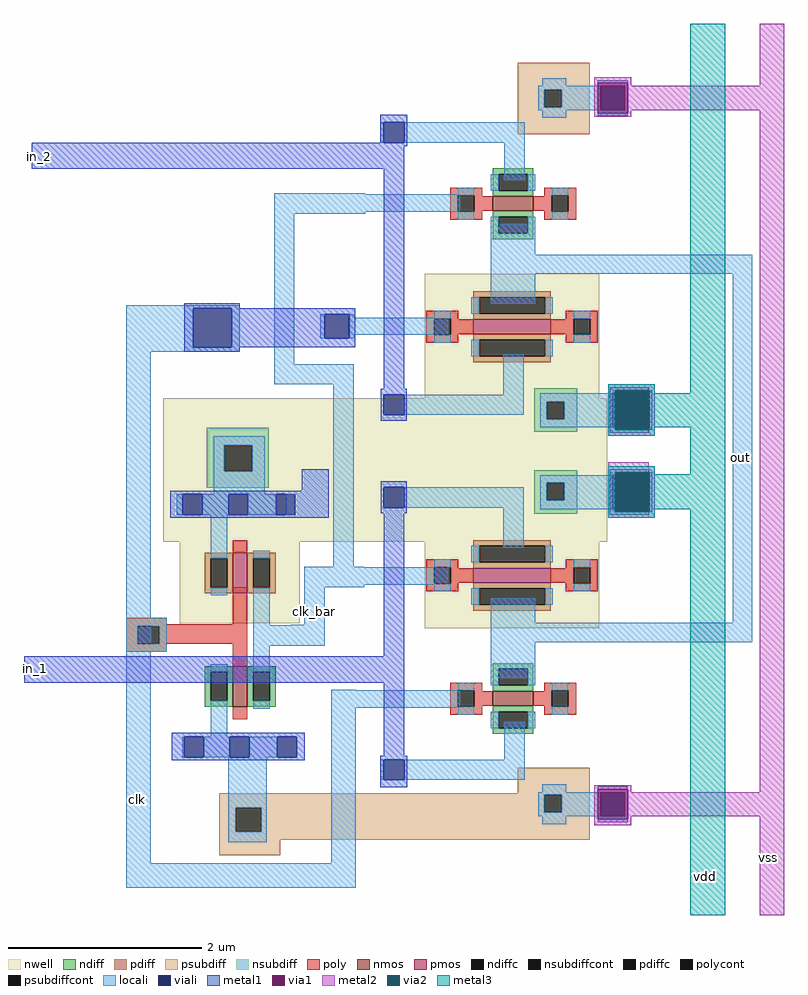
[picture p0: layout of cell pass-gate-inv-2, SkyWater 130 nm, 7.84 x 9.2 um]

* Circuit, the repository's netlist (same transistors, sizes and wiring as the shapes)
* NGSPICE file created from pass-gate-inv-2.ext - technology: sky130A

.subckt sky130_fd_pr__nfet_01v8_8mr83b VSUBS a_n73_n42# a_n15_n68# a_15_n42#
X0 a_15_n42# a_n15_n68# a_n73_n42# VSUBS sky130_fd_pr__nfet_01v8 w=420000u l=150000u
.ends

.subckt sky130_fd_pr__pfet_01v8_ykwexw VSUBS a_n73_n42# w_n109_n104# a_n15_n68# a_15_n42#
X0 a_15_n42# a_n15_n68# a_n73_n42# w_n109_n104# sky130_fd_pr__pfet_01v8 w=420000u l=150000u
.ends

.subckt inverter in out vdd vss
Xsky130_fd_pr__nfet_01v8_8mr83b_0 vss vss in out sky130_fd_pr__nfet_01v8_8mr83b
Xsky130_fd_pr__pfet_01v8_ykwexw_0 vss vdd vdd in out sky130_fd_pr__pfet_01v8_ykwexw
.ends

.subckt sky130_fd_pr__nfet_01v8_5mkfxl VSUBS a_n73_n42# a_15_n42# a_n33_n130#
X0 a_15_n42# a_n33_n130# a_n73_n42# VSUBS sky130_fd_pr__nfet_01v8 w=420000u l=150000u
.ends

.subckt sky130_fd_pr__pfet_01v8_pa2hmj VSUBS a_n33_n177# a_15_n80# w_n109_n180# a_n73_n80#
X0 a_15_n80# a_n33_n177# a_n73_n80# w_n109_n180# sky130_fd_pr__pfet_01v8 w=800000u l=150000u
.ends

.subckt pass-gate clk clk_bar v_in v_out v_newll v_sub v_out
Xsky130_fd_pr__nfet_01v8_5mkfxl_0 v_sub v_out v_in clk sky130_fd_pr__nfet_01v8_5mkfxl
Xsky130_fd_pr__pfet_01v8_pa2hmj_0 v_sub clk_bar v_out v_newll v_in sky130_fd_pr__pfet_01v8_pa2hmj
.ends

.subckt pass-gate-inv-2 in_1 in_2 clk clk_bar out vdd vss
Xinverter_0 clk clk_bar vdd vss inverter
Xpass-gate_0 clk clk_bar in_1 out vdd vss out pass-gate
Xpass-gate_1 clk_bar clk in_2 out vdd vss out pass-gate
.ends

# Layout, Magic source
magic
tech sky130A
magscale 1 2
<< nwell >>
rect -382 614 534 910
<< psubdiff >>
rect -150 0 362 96
<< locali >>
rect -153 1291 35 1333
rect -458 1096 -224 1102
rect -458 1016 -320 1096
rect -240 1016 -224 1096
rect -458 1006 -224 1016
rect -458 -49 -408 1006
rect -153 981 -111 1291
rect 322 1167 833 1207
rect -58 1034 -48 1084
rect 2 1034 12 1084
rect -153 939 11 981
rect -31 563 11 939
rect -91 521 33 563
rect -91 443 -49 521
rect -119 442 -49 443
rect -146 400 -49 442
rect 294 447 386 498
rect 793 447 833 1167
rect 294 407 833 447
rect 294 338 386 407
rect -35 -49 15 309
rect -458 -99 15 -49
<< viali >>
rect -320 1016 -240 1096
rect -48 1034 2 1084
<< metal1 >>
rect -653 1384 96 1438
rect -338 1096 -224 1106
rect -338 1016 -320 1096
rect -240 1084 14 1096
rect -240 1034 -48 1084
rect 2 1034 14 1084
rect -240 1016 14 1034
rect -338 1006 -224 1016
rect -96 720 -40 764
rect -129 664 -40 720
rect -669 324 100 378
<< metal2 >>
rect 849 1555 899 1683
rect 613 1505 899 1555
rect 536 908 603 929
rect 536 834 620 908
rect 536 688 620 778
rect 536 685 603 688
rect 849 98 899 1505
rect 579 48 899 98
rect 849 -156 899 48
<< metal3 >>
rect 706 921 778 1683
rect 621 851 778 921
rect 706 754 778 851
rect 624 682 778 754
rect 706 -156 778 682
use inverter  inverter_0
transform 1 0 -332 0 1 446
box -126 -478 242 448
use pass-gate  pass-gate_1
transform 1 0 210 0 -1 1385
box -210 -218 503 586
use pass-gate  pass-gate_0
transform 1 0 210 0 1 218
box -210 -218 503 586
<< labels >>
flabel metal1 -652 344 -640 362 0 FreeSans 800 0 0 0 in_1
port 0 nsew
flabel metal1 -644 1400 -632 1418 0 FreeSans 800 0 0 0 in_2
port 1 nsew
flabel locali -440 74 -428 92 0 FreeSans 800 0 0 0 clk
port 2 nsew
flabel locali -76 462 -64 480 0 FreeSans 800 0 0 0 clk_bar
port 3 nsew
flabel locali 804 780 816 798 0 FreeSans 800 0 0 0 out
port 4 nsew
flabel metal3 732 -86 744 -68 0 FreeSans 800 0 0 0 vdd
port 5 nsew
flabel metal2 862 -46 874 -28 0 FreeSans 800 0 0 0 vss
port 6 nsew
<< end >>

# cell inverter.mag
magic
tech sky130A
magscale 1 2
<< nwell >>
rect -16 0 232 448
<< psubdiff >>
rect 66 -380 192 -350
rect 66 -430 100 -380
rect 152 -430 192 -380
rect 66 -478 192 -430
<< nsubdiff >>
rect 40 368 168 404
rect 40 314 76 368
rect 134 314 168 368
rect 40 280 168 314
<< psubdiffcont >>
rect 100 -430 152 -380
<< nsubdiffcont >>
rect 76 314 134 368
<< poly >>
rect -126 -2 -42 12
rect 94 -2 124 75
rect -126 -6 124 -2
rect -126 -42 -102 -6
rect -58 -42 124 -6
rect -126 -58 -42 -42
rect 94 -66 124 -42
<< polycont >>
rect -102 -42 -58 -6
<< locali >>
rect 54 368 160 386
rect 54 314 76 368
rect 134 314 160 368
rect 54 266 160 314
rect -22 224 -9 266
rect 31 224 85 266
rect 125 224 183 266
rect 48 134 82 224
rect -126 -6 -42 12
rect -126 -42 -102 -6
rect -58 -42 -42 -6
rect -126 -58 -42 -42
rect 136 -4 170 64
rect 136 -46 228 -4
rect 136 -92 170 -46
rect 48 -234 82 -172
rect -10 -276 -6 -234
rect 34 -276 88 -234
rect 128 -276 186 -234
rect 84 -380 164 -276
rect 84 -430 100 -380
rect 152 -430 164 -380
rect 84 -452 164 -430
<< viali >>
rect -9 224 31 266
rect 85 224 125 266
rect 183 224 223 266
rect -6 -276 34 -234
rect 88 -276 128 -234
rect 186 -276 226 -234
<< metal1 >>
rect -35 266 239 274
rect -35 224 -9 266
rect 31 224 85 266
rect 125 224 183 266
rect 223 224 239 266
rect -35 218 239 224
rect -32 -234 242 -226
rect -32 -276 -6 -234
rect 34 -276 88 -234
rect 128 -276 186 -234
rect 226 -276 242 -234
rect -32 -282 242 -276
use sky130_fd_pr__pfet_01v8_ykwexw  sky130_fd_pr__pfet_01v8_ykwexw_0
transform 1 0 109 0 1 104
box -109 -104 109 104
use sky130_fd_pr__nfet_01v8_8mr83b  sky130_fd_pr__nfet_01v8_8mr83b_0
transform 1 0 109 0 1 -130
box -73 -68 73 68
<< labels >>
flabel locali -120 -4 -114 2 0 FreeSans 800 0 0 0 in
port 0 nsew
flabel locali 204 -24 210 -18 0 FreeSans 800 0 0 0 out
port 1 nsew
flabel metal1 -32 264 -26 270 0 FreeSans 800 0 0 0 vdd
port 2 nsew
flabel metal1 -28 -240 -22 -234 0 FreeSans 800 0 0 0 vss
port 3 nsew
<< end >>

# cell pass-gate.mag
magic
tech sky130A
magscale 1 2
<< nwell >>
rect -52 396 308 586
<< psubdiff >>
rect 140 -126 288 -70
rect 140 -162 194 -126
rect 230 -162 288 -126
rect 140 -218 288 -162
<< nsubdiff >>
rect 174 518 262 544
rect 174 482 200 518
rect 236 482 262 518
rect 174 454 262 482
<< psubdiffcont >>
rect 194 -162 230 -126
<< nsubdiffcont >>
rect 200 482 236 518
<< locali >>
rect 186 518 335 534
rect -95 467 152 509
rect 110 384 152 467
rect 186 482 200 518
rect 236 482 335 518
rect 186 464 335 482
rect -210 308 -4 344
rect 84 116 176 280
rect -210 54 20 90
rect 112 -53 154 24
rect -144 -95 -137 -53
rect -95 -95 154 -53
rect 190 -120 240 -104
rect 182 -126 311 -120
rect 182 -162 194 -126
rect 230 -162 311 -126
rect 182 -170 311 -162
rect 190 -186 240 -170
<< viali >>
rect -137 467 -95 509
rect 335 464 405 534
rect -137 -95 -95 -53
rect 311 -170 361 -120
<< metal1 >>
rect 329 540 411 546
rect 329 534 341 540
rect -143 509 -89 521
rect -143 467 -137 509
rect -95 467 -89 509
rect -143 455 -89 467
rect 329 464 335 534
rect 329 458 341 464
rect 411 458 417 540
rect -137 -45 -95 455
rect 329 452 411 458
rect -144 -53 -88 -45
rect -144 -95 -137 -53
rect -95 -95 -88 -53
rect -144 -110 -88 -95
rect 305 -114 367 -108
rect 305 -182 367 -176
<< via1 >>
rect 341 534 411 540
rect 341 464 405 534
rect 405 464 411 534
rect 341 458 411 464
rect 305 -120 367 -114
rect 305 -170 311 -120
rect 311 -170 361 -120
rect 361 -170 367 -120
rect 305 -176 367 -170
<< metal2 >>
rect 326 540 422 552
rect 326 458 341 540
rect 411 458 422 540
rect 326 446 422 458
rect 298 -114 374 -106
rect 298 -176 305 -114
rect 367 -120 374 -114
rect 367 -170 503 -120
rect 367 -176 374 -170
rect 298 -188 374 -176
<< via2 >>
rect 341 458 411 540
<< metal3 >>
rect 326 540 422 552
rect 326 458 341 540
rect 411 534 422 540
rect 411 464 503 534
rect 411 458 422 464
rect 326 446 422 458
use sky130_fd_pr__nfet_01v8_5mkfxl  sky130_fd_pr__nfet_01v8_5mkfxl_0
transform 0 1 130 -1 0 73
box -73 -130 73 130
use sky130_fd_pr__pfet_01v8_pa2hmj  sky130_fd_pr__pfet_01v8_pa2hmj_0
transform 0 1 128 -1 0 327
box -109 -180 109 180
<< labels >>
flabel locali -201 61 -189 79 0 FreeSans 640 0 0 0 clk
port 0 nsew
flabel locali -202 316 -190 334 0 FreeSans 640 0 0 0 clk_bar
port 1 nsew
flabel metal1 -123 153 -111 171 0 FreeSans 640 0 0 0 v_in
port 2 nsew
flabel locali 118 179 130 197 0 FreeSans 640 0 0 0 v_out
port 3 nsew
flabel metal3 457 488 469 506 0 FreeSans 640 0 0 0 v_newll
port 4 nsew
flabel metal2 451 -155 463 -137 0 FreeSans 640 0 0 0 v_sub
port 5 nsew
<< end >>

# cell sky130_fd_pr__nfet_01v8_5mkfxl: kit device sky130_fd_pr__nfet_01v8, w 0.420 l 0.150 m 1 nf 1 diffcov 100 polycov 100 guard 0 glc 0 grc 0 gtc 0 gbc 0 tbcov 100 rlcov 100 topc 1 botc 1 poverlap 0 doverlap 1 lmin 0.15 wmin 0.42 compatible {sky130_fd_pr__nfet_01v8 sky130_fd_pr__nfet_01v8_lvt sky130_fd_bs_flash__special_sonosfet_star sky130_fd_pr__nfet_g5v0d10v5 sky130_fd_pr__nfet_05v0_nvt} full_metal 0

# cell sky130_fd_pr__pfet_01v8_pa2hmj: kit device sky130_fd_pr__pfet_01v8, w 0.8 l 0.15 m 1 nf 1 diffcov 100 polycov 100 guard 0 glc 0 grc 0 gtc 0 gbc 0 tbcov 100 rlcov 100 topc 1 botc 1 poverlap 0 doverlap 1 lmin 0.15 wmin 0.42 compatible {sky130_fd_pr__pfet_01v8 sky130_fd_pr__pfet_01v8_lvt sky130_fd_pr__pfet_01v8_hvt sky130_fd_pr__pfet_g5v0d10v5} full_metal 0

# cell sky130_fd_pr__pfet_01v8_ykwexw: kit device sky130_fd_pr__pfet_01v8, w 0.42 l 0.15 m 1 nf 1 diffcov 100 polycov 100 guard 0 glc 0 grc 0 gtc 0 gbc 0 tbcov 100 rlcov 100 topc 0 botc 0 poverlap 0 doverlap 1 lmin 0.15 wmin 0.42 compatible {sky130_fd_pr__pfet_01v8 sky130_fd_pr__pfet_01v8_lvt sky130_fd_pr__pfet_01v8_hvt sky130_fd_pr__pfet_g5v0d10v5} full_metal 0

# cell sky130_fd_pr__nfet_01v8_8mr83b: kit device sky130_fd_pr__nfet_01v8, w 0.420 l 0.150 m 1 nf 1 diffcov 100 polycov 100 guard 0 glc 0 grc 0 gtc 0 gbc 0 tbcov 100 rlcov 100 topc 0 botc 0 poverlap 0 doverlap 1 lmin 0.15 wmin 0.42 compatible {sky130_fd_pr__nfet_01v8 sky130_fd_pr__nfet_01v8_lvt sky130_fd_bs_flash__special_sonosfet_star sky130_fd_pr__nfet_g5v0d10v5 sky130_fd_pr__nfet_05v0_nvt} full_metal 0
